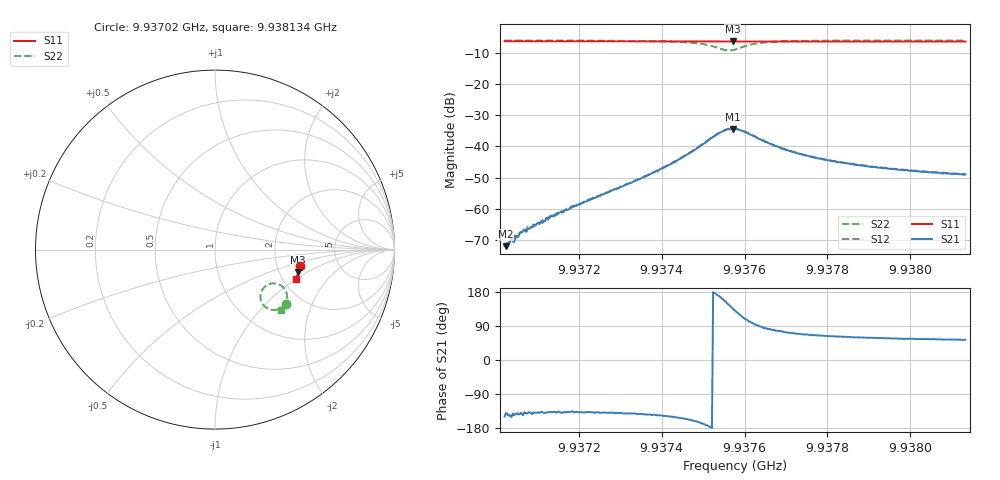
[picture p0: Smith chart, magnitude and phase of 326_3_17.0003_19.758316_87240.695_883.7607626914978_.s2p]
#  HZ  S  RI  R  50.00
! Rohde & Schwarz Vector Network Analyzer
! Rohde-Schwarz,ZNB20-2Port,1311601062101988,3.16
! Created: UTC 3/20/2024, 11:06:44 PM
! freq[Hz]  re:S11  im:S11  re:S21  im:S21  re:S12  im:S12  re:S22  im:S22
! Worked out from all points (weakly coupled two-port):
!   401 points, 9.93702 GHz to 9.938134 GHz, reference 50 ohm
!   highest |S21| = -34.37 dB at 9.937571 GHz (marker M1); lowest = -71.9 dB at 9.937023 GHz (marker M2)
!   lowest |S11| = -6.4 dB at 9.937571 GHz (marker M3), VSWR 2.85, Z = 127 - j41.1 ohm
!   |S11| at or under -10 dB: nowhere
!   |S22| runs from -9.2 to -6.0 dB; largest |S21 - S12| = 0.00076
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9.9370205e9  0.4762 -0.0894  -0.000224 -0.000134  -0.000213 -0.000178  0.3976 -0.3008
9.9370233e9  0.4763 -0.0896  -0.000195 -0.000161  -0.000221 -0.000149  0.3977 -0.301
9.9370288e9  0.4761 -0.0901  -0.00023 -0.000152  -0.000232 -0.000166  0.3973 -0.3014
9.9370455e9  0.4758 -0.0911  -0.000255 -0.000193  -0.000294 -0.000239  0.396 -0.3027
9.937065e9  0.4754 -0.0925  -0.00037 -0.000253  -0.00034 -0.000286  0.3945 -0.304
9.9370789e9  0.4751 -0.0932  -0.000349 -0.000321  -0.000382 -0.000344  0.3937 -0.3052
9.9370901e9  0.4749 -0.0942  -0.000422 -0.000377  -0.000399 -0.000323  0.3929 -0.3058
9.9371262e9  0.4744 -0.0966  -0.000514 -0.000464  -0.000543 -0.000482  0.3901 -0.3086
9.9372069e9  0.4729 -0.1021  -0.000922 -0.000828  -0.000919 -0.000808  0.3828 -0.3149
9.9373934e9  0.4689 -0.1147  -0.00348 -0.00233  -0.00359 -0.00232  0.3518 -0.3328
9.937449e9  0.4676 -0.1185  -0.00592 -0.00292  -0.00609 -0.0029  0.3287 -0.3363
9.9375047e9  0.4657 -0.1222  -0.0113 -0.0019  -0.0116 -0.00175  0.2842 -0.3227
9.9375464e9  0.4642 -0.1241  -0.0164 0.0055  -0.0166 0.00621  0.2531 -0.2564
9.9375715e9  0.4636 -0.1247  -0.0138 0.0133  -0.0136 0.0139  0.286 -0.2003
9.937577e9  0.4636 -0.125  -0.0123 0.0145  -0.0121 0.0151  0.2992 -0.1933
9.9375993e9  0.4638 -0.1261  -0.00595 0.0163  -0.00563 0.0166  0.3508 -0.1918
9.9376355e9  0.4638 -0.1287  0.000199 0.0131  0.000399 0.0133  0.3922 -0.2263
9.9376939e9  0.463 -0.1329  0.00248 0.00886  0.00277 0.00882  0.4018 -0.2679
9.9377635e9  0.4613 -0.1377  0.00279 0.00617  0.00291 0.00619  0.3964 -0.2922
9.9378386e9  0.4596 -0.1427  0.00266 0.00478  0.00273 0.00477  0.3895 -0.3066
9.9379499e9  0.4569 -0.15  0.00237 0.00373  0.00247 0.00372  0.3803 -0.3198
9.9381335e9  0.452 -0.1619  0.00212 0.00286  0.00219 0.00285  0.3679 -0.3349
